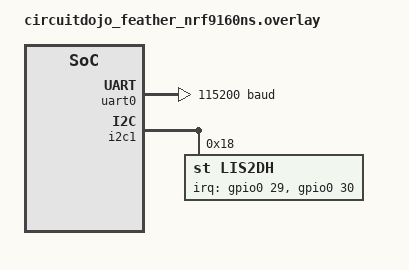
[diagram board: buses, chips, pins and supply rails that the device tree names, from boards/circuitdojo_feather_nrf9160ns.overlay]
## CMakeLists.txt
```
# SPDX-License-Identifier: Apache-2.0

cmake_minimum_required(VERSION 3.13.1)

# Adding custom overlay to add settings that aren't included in the SDK (yet) for the nRF9160 Feather
if(${BOARD} STREQUAL circuitdojo_feather_nrf9160ns)
message(STATUS "Adding .overlay for mcuboot.")
list(APPEND mcuboot_DTC_OVERLAY_FILE
  "${CMAKE_CURRENT_LIST_DIR}/conf/mcuboot/circuitdojo_feather_nrf9160ns.overlay"
  )
endif()

find_package(Zephyr HINTS $ENV{ZEPHYR_BASE})
project(deep_sleep)

target_sources(app PRIVATE src/main.c)
```

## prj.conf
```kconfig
# Stacks and heaps
CONFIG_MAIN_STACK_SIZE=4096
CONFIG_HEAP_MEM_POOL_SIZE=16384

CONFIG_DEBUG=n

# Add the accelerometer
CONFIG_I2C=y
CONFIG_SENSOR=y
CONFIG_LIS2DH=y
CONFIG_LIS2DH_TRIGGER_GLOBAL_THREAD=y
CONFIG_LIS2DH_ODR_RUNTIME=y

# SPI Flash
CONFIG_SPI=y
CONFIG_SPI_NOR=y
CONFIG_SPI_NOR_FLASH_LAYOUT_PAGE_SIZE=4096

# Enable flash operations.
CONFIG_FLASH=y
CONFIG_FLASH_MAP=y
CONFIG_FLASH_PAGE_LAYOUT=y

CONFIG_LOG=y
CONFIG_LOG_PRINTK=y

# Zephyr Device Power Management
CONFIG_PM_DEVICE=y

# Network
CONFIG_NETWORKING=y
CONFIG_NET_SOCKETS=y
CONFIG_NET_NATIVE=n

# LTE link control
CONFIG_LTE_LINK_CONTROL=y

# Modem library
CONFIG_NRF_MODEM_LIB=y
CONFIG_NRF_MODEM_LIB_TRACE=n

# PSM & eDRX enable
CONFIG_LTE_LC_EDRX_MODULE=y
CONFIG_LTE_EDRX_REQ=y
CONFIG_LTE_LC_PSM_MODULE=y
CONFIG_LTE_PSM_REQ=y

# Async
CONFIG_UART_ASYNC_API=y
CONFIG_UART_LINE_CTRL=y
```

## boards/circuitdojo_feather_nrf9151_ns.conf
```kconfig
CONFIG_MFD=y
CONFIG_MFD_NPM13XX=y
```

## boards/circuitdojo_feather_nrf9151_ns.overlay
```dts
/*
 * Copyright (c) 2020 Circuit Dojo LLC
 *
 * SPDX-License-Identifier: Apache-2.0
 */

&gpio0 {
    sense-edge-mask = <0xffff>;
};
```

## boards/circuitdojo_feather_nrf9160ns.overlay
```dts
/*
 * Copyright (c) 2020 Circuit Dojo LLC
 *
 * SPDX-License-Identifier: Apache-2.0
 */

&uart0 {
	status = "okay";
	current-speed = <115200>;
	/delete-property/ rx-pin;
};

&i2c1 {
	lis2dh@18 {
		compatible = "st,lis2dh";
		label = "LIS2DH";
		reg = <0x18>;
		irq-gpios = <&gpio0 29 GPIO_ACTIVE_HIGH>, <&gpio0 30 GPIO_ACTIVE_HIGH>;
		disconnect-sdo-sa0-pull-up;
	};
};
```

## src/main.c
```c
/*
 * Copyright (c) 2024 Circuit Dojo LLC
 *
 * SPDX-License-Identifier: Apache-2.0
 */
#include <zephyr/drivers/mfd/npm13xx.h>
#include <zephyr/kernel.h>
#include <zephyr/sys/printk.h>

#define SHIP_BASE 0x0BU
#define SHIP_OFFSET_CONFIG 0x04U
#define SHIP_OFFSET_LPCONFIG 0x06U
#define SHIP_OFFSET_CFGSTROBE 0x01U
#define SHIP_OFFSET_TASKENTERSHIPMODE 0x02U

/* Addresses */
#define NPM1300_BUCK_BASE 0x04U
#define NPM1300_BUCK_OFFSET_EN_CLR 0x01U
#define NPM1300_BUCK_BUCKCTRL0 0x15U
#define NPM1300_BUCK_STATUS 0x34U

int main(void) {

  printk("Deep sleep sample\n");

#if defined(CONFIG_BOARD_CIRCUITDOJO_FEATHER_NRF9151)
  static const struct device *pmic = DEVICE_DT_GET(DT_NODELABEL(npm1300_pmic));

  int ret;
  uint8_t reg = 0;

  /* See if pulldown is not already enabled */
  ret = mfd_npm13xx_reg_read(pmic, NPM1300_BUCK_BASE, NPM1300_BUCK_BUCKCTRL0,
                             &reg);
  if (ret < 0)
    printk("Failed to set VBUSINLIM. Err: %d\n", ret);

  if ((reg & 0x08) == 0) {

    /* Write to MFD to enable pulldown for both Bucks */
    ret = mfd_npm13xx_reg_write(pmic, NPM1300_BUCK_BASE, NPM1300_BUCK_BUCKCTRL0,
                                0x08 + 0x04);
    if (ret < 0)
      printk("Failed to set VBUSINLIM. Err: %d\n", ret);
  }

    // Initializing here to ensure Hibernate mode works as expected
    ret = mfd_npm13xx_reg_write(pmic, SHIP_BASE, SHIP_OFFSET_CONFIG, 3U);
    if (ret < 0) {
      printk("Failed to write config. Err: %d\n", ret);
      return ret;
    }
    
    ret = mfd_npm13xx_reg_write(pmic, SHIP_BASE, SHIP_OFFSET_LPCONFIG, 0U);
    if (ret < 0) {
      printk("Failed to write config lp config. Err: %d\n", ret);
      return ret;
    }
    
    ret = mfd_npm13xx_reg_write(pmic, SHIP_BASE, SHIP_OFFSET_CFGSTROBE, 1U);
    if (ret < 0) {
      printk("Failed to write cfg strobe. Err: %d\n", ret);
      return ret;
    }
    

#if true
    /* set hibernate mode and power down */
    ret = mfd_npm13xx_hibernate(pmic, 60000);
    if (ret < 0) {
      printk("Failed to hibernate. Err: %d\n", ret);
      return ret;
    }
#else
  /* Put into ship mode */
  ret =
      mfd_npm13xx_reg_write(pmic, SHIP_BASE, SHIP_OFFSET_TASKENTERSHIPMODE, 1U);
  if (ret < 0) {
    printk("Failed to go into ship mode. Err: %i\n", ret);
    return ret;
  }
#endif

#else
#error Sample not supported on this board
#endif

  return 0;
}
```
